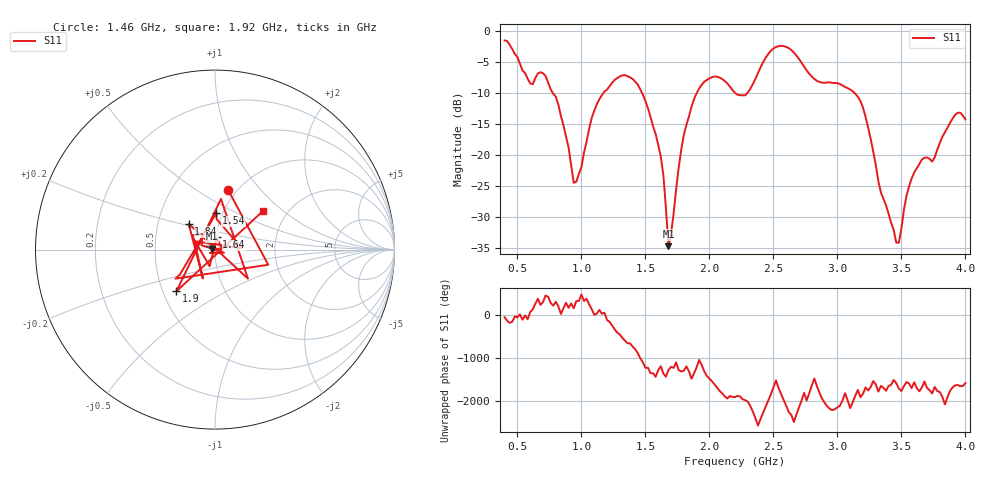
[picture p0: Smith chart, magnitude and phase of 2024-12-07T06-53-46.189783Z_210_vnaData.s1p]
!Created with skrf (http://scikit-rf.org).
# Hz S RI R 50.0
!freq ReS11 ImS11
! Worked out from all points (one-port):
!   181 points, 400 MHz to 4 GHz, reference 50 ohm
!   lowest |S11| = -34.7 dB at 1.68 GHz (marker M1), VSWR 1.04, Z = 48.3 + j0.536 ohm
!   |S11| at or under -10 dB: 777.2 MHz to 1.171 GHz (393.5 MHz wide, 40.4 % of centre); 1.475 GHz to 1.9 GHz (425.1 MHz wide, 25.2 % of centre); 3.136 GHz to end of sweep (the widest 3 of 4)
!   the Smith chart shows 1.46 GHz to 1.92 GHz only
!   S11 on the Smith chart (normalised r, x): 1.46 GHz: 0.91, +0.69; 1.54 GHz: 0.93, +0.40; 1.64 GHz: 1.01, +0.14; 1.84 GHz: 0.72, +0.21; 1.9 GHz: 0.59, -0.30; 1.92 GHz: 1.51, +0.74
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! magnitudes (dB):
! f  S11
! 400 MHz  -1.5
! 600 MHz  -8.4
! 720 MHz  -7.2
! 860 MHz  -15.2
! 940 MHz  -24.5
! 960 MHz  -24.3
! 1.12 GHz  -11.8
! 1.3 GHz  -7.3
! 1.46 GHz  -9.4
! 1.54 GHz  -13.8
! 1.64 GHz  -23.2
! 1.68 GHz  -34.7
! 1.76 GHz  -22.0
! 1.84 GHz  -13.8
! 1.9 GHz  -10.0
! 1.92 GHz  -9.2
! 2.06 GHz  -7.3
! 2.2 GHz  -9.9
! 2.3 GHz  -9.9
! 2.5 GHz  -2.8
! 2.66 GHz  -3.4
! 2.84 GHz  -8.0
! 3.1 GHz  -9.4
! 3.2 GHz  -12.3
! 3.46 GHz  -34.2
! 3.56 GHz  -25.1
! 3.92 GHz  -13.5
! 4 GHz  -14.2
